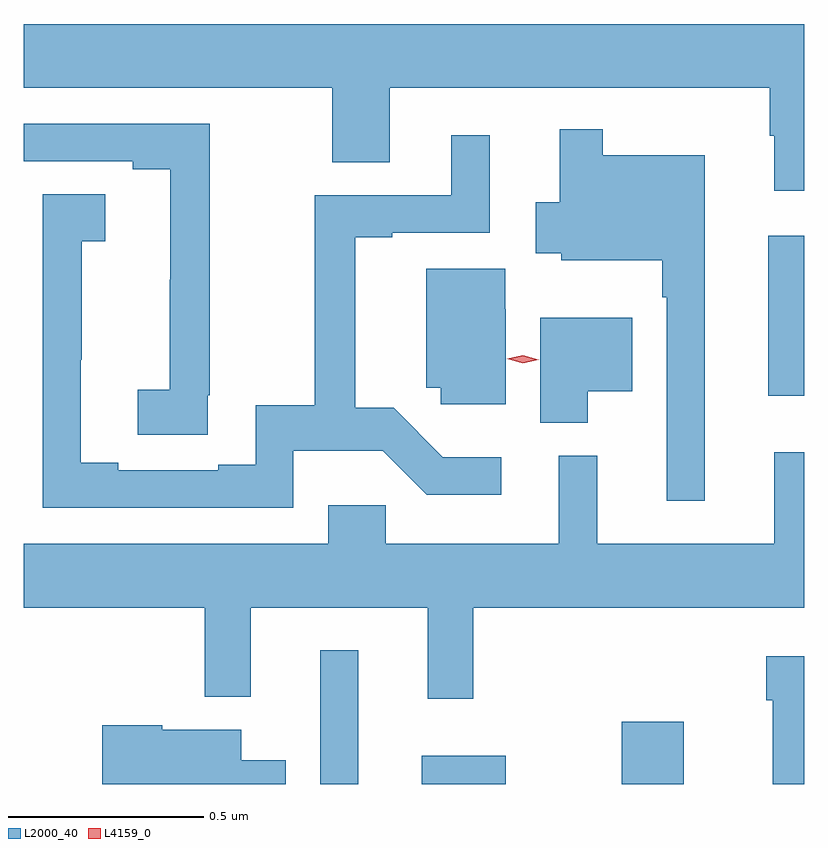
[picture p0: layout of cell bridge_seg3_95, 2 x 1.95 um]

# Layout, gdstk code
import gdstk
lib = gdstk.Library(unit=1e-6, precision=1e-09)
def R(c, l, rs):  # rectangles x0, y0, x1, y1
    for r in rs: c.add(gdstk.rectangle(r[:2], r[2:], *l))
def P(c, l, *ps):  # polygons
    for p in ps: c.add(gdstk.Polygon(p, *l))
L2000_40 = (2000, 40)
L4159_0 = (4159, 0)

bridge_seg3_95 = lib.new_cell('bridge_seg3_95')
R(bridge_seg3_95, L2000_40, [(402.111,731.1,402.208,731.443), (402.371,731.1,402.586,731.173), (402.884,731.1,403.042,731.26), (403.259,732.095,403.351,732.505)])
P(bridge_seg3_95, L2000_40, [(403.351,733.048),(401.351,733.048),(401.351,732.884),(402.142,732.884),(402.142,732.694),(402.289,732.694),(402.289,732.884),(403.263,732.884),(403.263,732.761),(403.274,732.761),(403.274,732.621),(403.351,732.621)],
  [(401.822,732.097),(401.828,732.097),(401.828,732.792),(401.351,732.792),(401.351,732.696),(401.63,732.696),(401.63,732.676),(401.726,732.676),(401.726,732.393),(401.725,732.393),(401.725,732.11),(401.643,732.11),(401.643,731.995),(401.822,731.995)],
  [(403.096,732.712),(402.835,732.712),(402.835,732.778),(402.725,732.778),(402.725,732.591),(402.663,732.591),(402.663,732.461),(402.729,732.461),(402.729,732.443),(402.987,732.443),(402.987,732.347),(402.999,732.347),(402.999,731.826),(403.096,731.826)],
  [(402.042,731.954),(402.271,731.954),(402.384,731.841),(402.574,731.841),(402.574,731.938),(402.425,731.938),(402.299,732.064),(402.2,732.064),(402.2,732.501),(402.295,732.501),(402.295,732.513),(402.545,732.513),(402.545,732.763),(402.446,732.763),(402.446,732.609),(402.097,732.609),(402.097,732.071),(401.946,732.071),(401.946,731.918),(401.849,731.918),(401.849,731.904),(401.593,731.904),(401.593,731.924),(401.497,731.924),(401.497,732.187),(401.499,732.187),(401.499,732.491),(401.56,732.491),(401.56,732.611),(401.4,732.611),(401.4,731.808),(402.042,731.808)],
  [(402.586,732.317),(402.585,732.317),(402.585,732.421),(402.383,732.421),(402.383,732.116),(402.42,732.116),(402.42,732.074),(402.586,732.074)],
  [(402.796,732.107),(402.91,732.107),(402.91,732.295),(402.674,732.295),(402.674,732.026),(402.796,732.026)],
  [(402.503,731.552),(403.351,731.552),(403.351,731.95),(403.274,731.95),(403.274,731.716),(402.821,731.716),(402.821,731.941),(402.722,731.941),(402.722,731.716),(402.278,731.716),(402.278,731.814),(402.131,731.814),(402.131,731.716),(401.351,731.716),(401.351,731.552),(401.815,731.552),(401.815,731.324),(401.933,731.324),(401.933,731.552),(402.386,731.552),(402.386,731.319),(402.503,731.319)],
  [(403.351,731.428),(403.254,731.428),(403.254,731.315),(403.271,731.315),(403.271,731.1),(403.351,731.1)],
  [(402.022,731.161),(401.908,731.161),(401.908,731.239),(401.706,731.239),(401.706,731.251),(401.552,731.251),(401.552,731.1),(402.022,731.1)])
P(bridge_seg3_95, L4159_0, [(402.63,732.179),(402.59,732.19),(402.59,732.19),(402.59,732.19),(402.63,732.199),(402.671,732.188),(402.671,732.188),(402.671,732.188)])

lib.write_gds('bridge_seg3_95.gds')
